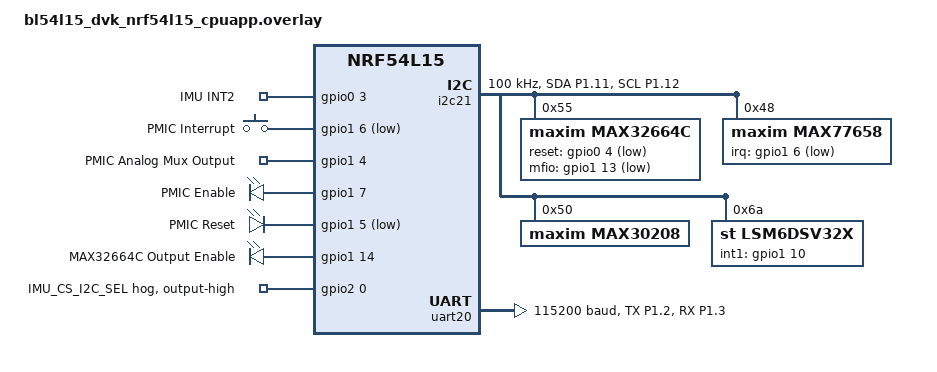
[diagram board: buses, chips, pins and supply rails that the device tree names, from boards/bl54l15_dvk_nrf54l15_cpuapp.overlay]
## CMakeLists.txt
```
# SPDX-License-Identifier: Apache-2.0

cmake_minimum_required(VERSION 3.20.0)

find_package(Zephyr REQUIRED HINTS $ENV{ZEPHYR_BASE})
project(bm_eso_v1_0)

# Application sources
target_sources(app PRIVATE 
    src/main.c
    src/pmic_gpio.c
    src/data_manager.c
    src/storage_manager.c
    src/ble_app.c
    lib/max77658_main.c
    lib/max32664c_main.c
    lib/max30208_main.c
    lib/lsm6dsv32x_main.c
    lib/comman/app_i2c_lock.c
    driver/pmic/max77658.c
    driver/pmic/bsp.c
    # MAX30208 temperature sensor driver
    driver/max30208/max30208.c
    # MAX32664C driver sources
    driver/max32664c/max32664c.c
    driver/max32664c/max32664c_acc.c
    driver/max32664c/max32664c_bl.c
    driver/max32664c/max32664c_init.c
    driver/max32664c/max32664c_worker.c
)

# Conditionally add MAX32664C interrupt support
if(CONFIG_MAX32664C_USE_INTERRUPT)
    target_sources(app PRIVATE driver/max32664c/max32664c_interrupt.c)
endif()

# Conditionally add PMIC module sources
if(CONFIG_PMIC_MAX77658_PM)
    target_sources(app PRIVATE driver/pmic/max77658_pm.c)
endif()

if(CONFIG_PMIC_MAX77658_FG)
    target_sources(app PRIVATE driver/pmic/max77658_fg.c)
endif()

# Include directories
target_include_directories(app PRIVATE
    ${CMAKE_CURRENT_SOURCE_DIR}/driver/pmic
    ${CMAKE_CURRENT_SOURCE_DIR}/driver/max32664c
    ${CMAKE_CURRENT_SOURCE_DIR}/src
    ${CMAKE_CURRENT_SOURCE_DIR}/lib
    ${CMAKE_CURRENT_SOURCE_DIR}/lib/comman
)
```

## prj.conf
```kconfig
# =============================================================================
# Zephyr Project Configuration for MAX77658 PMIC Driver
# Target: nRF5340 / nRF52840
# =============================================================================

# -----------------------------------------------------------------------------
# Clock Configuration
# -----------------------------------------------------------------------------
# Use internal 32.768 kHz RC oscillator (LFRC) instead of external crystal (LFXO)
# This frees P0.00 (XL1) and P0.01 (XL2) for GPIO use
CONFIG_CLOCK_CONTROL_NRF_K32SRC_RC=y
CONFIG_CLOCK_CONTROL_NRF_K32SRC_RC_CALIBRATION=y

# -----------------------------------------------------------------------------
# C++ Support (if needed for driver library)
# -----------------------------------------------------------------------------
CONFIG_CPP=y
CONFIG_STD_CPP17=y
CONFIG_REQUIRES_FULL_LIBCPP=y
CONFIG_NEWLIB_LIBC=y

# -----------------------------------------------------------------------------
# I2C Configuration
# -----------------------------------------------------------------------------
CONFIG_I2C=y

# -----------------------------------------------------------------------------
# SPI Configuration (for other peripherals like MAX30001G ECG/BioZ AFE)
# -----------------------------------------------------------------------------
CONFIG_SPI=y

# -----------------------------------------------------------------------------
# GPIO Configuration
# -----------------------------------------------------------------------------
CONFIG_GPIO=y

# -----------------------------------------------------------------------------
# Serial / UART Console Configuration
# -----------------------------------------------------------------------------
CONFIG_SERIAL=y
CONFIG_CONSOLE=y
CONFIG_UART_CONSOLE=y

# -----------------------------------------------------------------------------
# Logging Configuration
# -----------------------------------------------------------------------------
CONFIG_LOG=y
CONFIG_LOG_MODE_DEFERRED=y
CONFIG_LOG_PROCESS_THREAD=y
CONFIG_LOG_PROCESS_THREAD_STACK_SIZE=4096
CONFIG_LOG_BUFFER_SIZE=16384

# Enable Debug Logging for I2C Subsystem
CONFIG_I2C_LOG_LEVEL_DBG=y

CONFIG_CLOCK_CONTROL_LOG_LEVEL_WRN=y

# 2. Keep Sensor logs enabled so you can see the data
CONFIG_SENSOR_LOG_LEVEL_DBG=y

# 3. Reduce Kernel noise
CONFIG_LOG_DEFAULT_LEVEL=3
CONFIG_KERNEL_LOG_LEVEL_WRN=y

# -----------------------------------------------------------------------------
# Sensor Configuration
# -----------------------------------------------------------------------------
CONFIG_SENSOR=y

# LSM6DSV32X IMU Configuration (use LSM6DSV16X driver family)
CONFIG_LSM6DSV16X=y

CONFIG_LOG_BACKEND_UART=y
CONFIG_PRINTK=y

# Enable floating point support for printf/LOG_INF
CONFIG_CBPRINTF_FP_SUPPORT=y

# -----------------------------------------------------------------------------
# PMIC MAX77658 Configuration
# -----------------------------------------------------------------------------
CONFIG_PMIC_MAX77658=y
CONFIG_PMIC_MAX77658_LOG_LEVEL=3
CONFIG_PMIC_MAX77658_PM=y
CONFIG_PMIC_MAX77658_FG=y

# Fuel Gauge Battery Configuration
CONFIG_PMIC_MAX77658_FG_DESIGN_CAP=350
CONFIG_PMIC_MAX77658_FG_RSENSE=10

# -----------------------------------------------------------------------------
# Memory Configuration
# -----------------------------------------------------------------------------
# Heap for dynamic allocation
CONFIG_HEAP_MEM_POOL_SIZE=16384

# Main stack size (increase if needed)
CONFIG_MAIN_STACK_SIZE=4096

# -----------------------------------------------------------------------------
# Debug Configuration (optional - disable for production)
# -----------------------------------------------------------------------------
# CONFIG_DEBUG=y
# CONFIG_DEBUG_OPTIMIZATIONS=y
# CONFIG_DEBUG_THREAD_INFO=y

CONFIG_MAX32664C_USE_EXTENDED_REPORTS=y

# ========================================
# Bluetooth Configuration (nRF54L15 Fixed)
# ========================================
CONFIG_BT=y
CONFIG_BT_PERIPHERAL=y
CONFIG_BT_DEVICE_NAME="Neso Monitor"
CONFIG_BT_MAX_CONN=1

# Use the Nordic SoftDevice Controller
CONFIG_BT_LL_SOFTDEVICE=y

# TX Power control (SoftDevice VS HCI)
CONFIG_BT_HCI=y
CONFIG_BT_CTLR_TX_PWR_DYNAMIC_CONTROL=y

# BLE Host buffers (prevents -ENOMEM on bt_gatt_notify)
CONFIG_BT_BUF_ACL_RX_SIZE=251
CONFIG_BT_BUF_ACL_TX_SIZE=251
CONFIG_BT_BUF_ACL_RX_COUNT=8
CONFIG_BT_BUF_ACL_TX_COUNT=8

# How many outstanding TX can be queued per connection
CONFIG_BT_CONN_TX_MAX=12

# L2CAP TX buffers (host side)
CONFIG_BT_L2CAP_TX_MTU=247
CONFIG_BT_L2CAP_TX_BUF_COUNT=8

# Data Length Update (DLE) support is usually auto-enabled by SoftDevice
CONFIG_BT_DATA_LEN_UPDATE=y

# Disable features not needed right now to reduce complexity
CONFIG_BT_GATT_CLIENT=n
CONFIG_BT_SMP=n
CONFIG_BT_PRIVACY=n
CONFIG_BT_SIGNING=n

# -----------------------------------------------------------------------------
# Non-Volatile Storage (NVS) Configuration
# -----------------------------------------------------------------------------
# Enable Flash and NVS for persistent data storage
CONFIG_FLASH=y
CONFIG_FLASH_PAGE_LAYOUT=y
CONFIG_NVS=y

# Settings subsystem for key-value storage
CONFIG_SETTINGS=y

# Allow writing to flash while running
CONFIG_MPU_ALLOW_FLASH_WRITE=y
```

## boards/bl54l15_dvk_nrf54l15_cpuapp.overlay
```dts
/*
 * BL54L15 DVK overlay for MAX77658 PMIC and MAX32664C Sensor Hub
 *
 * Hardware Wiring:
 *   SDA: P1.11
 *   SCL: P1.12
 *
 * MAX32664C Sensor Hub Pins:
 *   HUB_MFIO: P1.13
 *   HUB_RST:  P0.04
 *   OE:       P1.14
 *
 * PMIC GPIO Pins:
 *   PMIC_NEN:  P1.07
 *   PMIC_nIRQ: P1.06
 *   PMIC_nRST: P1.05
 *
 * UART Pins (NFC pins released as GPIO):
 *   TX: P1.02
 *   RX: P1.03
 */
&pinctrl {
    /* I2C21 pins */
    i2c21_default: i2c21_default {
        group1 {
            /* YOUR CUSTOM WIRING */
            psels = <NRF_PSEL(TWIM_SDA, 1, 11)>,  /* SDA = P1.11 */
                    <NRF_PSEL(TWIM_SCL, 1, 12)>;  /* SCL = P1.12 */
            bias-pull-up;
        };
    };

    i2c21_sleep: i2c21_sleep {
        group1 {
            psels = <NRF_PSEL(TWIM_SDA, 1, 11)>,
                    <NRF_PSEL(TWIM_SCL, 1, 12)>;
            low-power-enable;
        };
    };

    /* UART configured on P1.02/P1.03 (NFC pins released as GPIO) */
    uart20_default: uart20_default {
        group1 {
            psels = <NRF_PSEL(UART_TX, 1, 2)>,  /* P1.02 = TX */
                    <NRF_PSEL(UART_RX, 1, 3)>;  /* P1.03 = RX */
        };
    };

    uart20_sleep: uart20_sleep {
        group1 {
            psels = <NRF_PSEL(UART_TX, 1, 2)>,  /* P1.02 = TX */
                    <NRF_PSEL(UART_RX, 1, 3)>;  /* P1.03 = RX */
            low-power-enable;
        };
    };
};

/* Configure I2C21 with custom pins (nRF54L15 uses i2c21) */
&i2c21 {
    status = "okay";
    pinctrl-0 = <&i2c21_default>;
    pinctrl-1 = <&i2c21_sleep>;
    pinctrl-names = "default", "sleep";
    clock-frequency = <I2C_BITRATE_STANDARD>;  /* 100kHz, can use I2C_BITRATE_FAST for 400kHz */

    /* MAX32664C Biometric Sensor Hub */
    max32664c: max32664c@55 {
        compatible = "maxim,max32664c";
        reg = <0x55>;
        
        /* GPIO Control */
        reset-gpios = <&gpio0 4 GPIO_ACTIVE_LOW>;
        mfio-gpios  = <&gpio1 13 (GPIO_ACTIVE_LOW | GPIO_OPEN_DRAIN | GPIO_PULL_UP)>;
        
        /* PATCH: Use Standard Maxim Coefficients (Scaled x100,000) */
        /* A = 1.5958422   -> 159584 */
        /* B = -34.6596622 -> -3465966 */
        /* C = 112.6898759 -> 11268987 */
        spo2-calib = <159584 (-3465966) 11268987>;
        hr-config = <4 1>;
        spo2-config = <4 1>;
        use-max86174;
        motion-time = <5000>;
        motion-threshold = <100>;
        min-integration-time = "58_7us";
        min-sampling-rate = "25sps_avg1";
        max-integration-time = "117_3us";
        max-sampling-rate = "400sps_avg16";
        report-period = <40>;
        led-current = <50 50 50 50>;
    };

    /* MAX77658 PMIC Node (Required for driver communication) */
    max77658: max77658@48 {
        compatible = "maxim,max77658"; 
        reg = <0x48>; 
        irq-gpios = <&gpio1 6 (GPIO_PULL_UP | GPIO_ACTIVE_LOW)>;
    };

    /* MAX30208 Digital Temperature Sensor 
     * Address pins P1.08/P1.09 forced LOW in firmware via SYS_INIT
     * to ensure device responds at 0x50
     */
    max30208: max30208@50 {
        compatible = "maxim,max30208";
        reg = <0x50>;
        status = "okay";
    };

    /* LSM6DSO32X 6-axis IMU (3D accelerometer + 3D gyroscope)
     * INT1: P1.10 (data ready interrupt - active-high)
     */
    lsm6dsv32x: imu@6a {
        compatible = "st,lsm6dsv32x";
        reg = <0x6a>;
        status = "okay";

        /* Optional interrupts */
        int1-gpios = <&gpio1 10 GPIO_ACTIVE_HIGH>;
        /* int2-gpios = <&gpio0 3 GPIO_ACTIVE_HIGH>; */
    };
};

/* Force IMU into I2C mode: CS must be HIGH (your CS/I2C-select is P2.00) */
&gpio2 {
    imu_cs_i2c_sel: imu_cs_i2c_sel {
        gpio-hog;
        gpios = <0 GPIO_ACTIVE_HIGH>; /* P2.00 */
        output-high;
        line-name = "IMU_CS_I2C_SEL";
    };
};

/* Configure UART20 for debug console (115200 baud) */
&uart20 {
    status = "okay";
    current-speed = <115200>;
    pinctrl-0 = <&uart20_default>;
    pinctrl-1 = <&uart20_sleep>;
    pinctrl-names = "default", "sleep";
};

&nfct {
    status = "disabled";
};

/* Disable NFC to release P1.02 and P1.03 as GPIO pins */
&uicr {
    nfct-pins-as-gpios;
};

/* GPIO definitions for Manual Control / Aliases */
/ {
    chosen {
        zephyr,code-partition = &slot0_partition;
    };

    /* PMIC GPIO definitions */
    pmic_gpios {
        compatible = "gpio-keys";
        
        /* Optional: expose IMU INT2 as a GPIO input for your app logic
         * INT2: P0.03 (not used by Zephyr lsm6dso driver directly)
         */
        imu_int2: imu_int2 {
            gpios = <&gpio0 3 GPIO_ACTIVE_HIGH>;
            label = "IMU INT2";
        };
        
        pmic_nirq: pmic_nirq {
            gpios = <&gpio1 6 (GPIO_PULL_UP | GPIO_ACTIVE_LOW)>;
            label = "PMIC Interrupt";
        };
        
        pmic_amux: pmic_amux {
            gpios = <&gpio1 4 GPIO_ACTIVE_HIGH>;
            label = "PMIC Analog Mux Output";
        };
    };
    
    pmic_ctrl {
        compatible = "gpio-leds";
        
        pmic_nen: pmic_nen {
            gpios = <&gpio1 7 GPIO_ACTIVE_HIGH>;
            label = "PMIC Enable";
        };
        
        pmic_nrst: pmic_nrst {
            gpios = <&gpio1 5 GPIO_ACTIVE_LOW>;
            label = "PMIC Reset";
        };
        
        hub_oe: hub_oe {
            gpios = <&gpio1 14 GPIO_ACTIVE_HIGH>;
            label = "MAX32664C Output Enable";
        };
    };
    
    aliases {
        /* PMIC aliases */
        pmic-nen = &pmic_nen;
        pmic-irq = &pmic_nirq;
        pmic-rst = &pmic_nrst;
        pmic-amux = &pmic_amux;
        
        /* MAX32664C aliases */
        hub-oe = &hub_oe;
        
        /* IMU aliases */
        imu0 = &lsm6dsv32x;
        lsm6dso32x = &lsm6dsv32x;  /* Keep old alias for compatibility */
        imu-int2 = &imu_int2;
    };
};

/* Flash Partitions for Data Storage (nRF54L15 RRAM) */
&cpuapp_rram {
    /* CRITICAL: Delete the default board partitions to avoid conflicts */
    /delete-node/ partitions;

    partitions {
        compatible = "fixed-partitions";
        #address-cells = <1>;
        #size-cells = <1>;

        /* Bootloader partition (64KB) */
        boot_partition: partition@0 {
            label = "mcuboot";
            reg = <0x00000000 0x00010000>;
        };

        /* Application slot 0 (448KB) */
        slot0_partition: partition@10000 {
            label = "image-0";
            reg = <0x00010000 0x00070000>;
        };

        /* Application slot 1 (448KB) */
        slot1_partition: partition@80000 {
            label = "image-1";
            reg = <0x00080000 0x00070000>;
        };

        /* Storage partition for persistent data (32KB) */
        storage_partition: partition@F0000 {
            label = "storage";
            reg = <0x000F0000 0x00008000>;
        };

        /* Scratch partition for MCUboot swap (32KB) */
        scratch_partition: partition@F8000 {
            label = "image-scratch";
            reg = <0x000F8000 0x00008000>;
        };
    };
};
```

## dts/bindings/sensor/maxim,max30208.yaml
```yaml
description: MAX30208 Digital Temperature Sensor
compatible: "maxim,max30208"
include: i2c-device.yaml

properties:
    addr-gpios:
      type: phandle-array
      description: GPIO pins (GPIO0, GPIO1) used to set the I2C address.
```

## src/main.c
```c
/*
 * main.c - Application Entry Point
 */

#include <zephyr/kernel.h>
#include <zephyr/logging/log.h>
#include <zephyr/device.h>
#include <zephyr/drivers/i2c.h>
#include <zephyr/sys/util.h>
#include <stdlib.h>

/* Application Libraries */
#include "max77658_main.h"
#include "max32664c_main.h"
#include "max30208_main.h"
#include "lsm6dsv32x_main.h"
#include "app_i2c_lock.h"

/* BLE Store-and-Forward Thread */
void start_ble_thread(void);
K_THREAD_DEFINE(ble_thread_id, 4096, start_ble_thread, NULL, NULL, NULL, 7, 0, 0);

LOG_MODULE_REGISTER(main, CONFIG_LOG_DEFAULT_LEVEL);

/* I2C Device */
#define I2C_NODE DT_NODELABEL(i2c21)
static const struct device *i2c_dev = DEVICE_DT_GET(I2C_NODE);

/* I2C Scanner Function */
static void i2c_scan(void)
{
    uint8_t addr;
    uint8_t cnt = 0;

    LOG_INF("--- I2C Bus Scan ---");
    
    if (!device_is_ready(i2c_dev)) {
        LOG_ERR("I2C device not ready!");
        return;
    }

    k_mutex_lock(&i2c_lock, K_FOREVER);

    for (addr = 0x03; addr <= 0x77; addr++) {
        struct i2c_msg msgs[1];
        uint8_t dst;

        msgs[0].buf = &dst;
        msgs[0].len = 0;
        msgs[0].flags = I2C_MSG_WRITE | I2C_MSG_STOP;

        if (i2c_transfer(i2c_dev, &msgs[0], 1, addr) == 0) {
            LOG_INF("Device found at 0x%02X", addr);
            cnt++;
        }
    }

    k_mutex_unlock(&i2c_lock);
    
    LOG_INF("Found %d device(s) on I2C bus", cnt);
}

int main(void)
{
    int ret;
    
    LOG_INF("--- System Startup ---");

    /* 1. Initialize PMIC Hardware (Protected) */
    LOG_INF("Initializing PMIC...");
    k_mutex_lock(&i2c_lock, K_FOREVER);
    ret = max77658_app_init();
    k_mutex_unlock(&i2c_lock);
    
    if (ret != 0) {
        LOG_ERR("MAX77658 Init Failed! Halting.");
        while (1) { k_msleep(1000); }
    }

    /* 2. Initialize MAX30208 Temperature Sensor */
    LOG_INF("Initializing MAX30208...");
    k_mutex_lock(&i2c_lock, K_FOREVER);
    ret = max30208_app_init();
    k_mutex_unlock(&i2c_lock);
    
    if (ret != 0) {
        LOG_WRN("MAX30208 Init Failed (ret=%d) - sensor disabled", ret);
    }

    /* 3. Start Application Threads */
    /* The internal driver init for max32664c is handled by the sensor thread */
    LOG_INF("Starting Application Threads...");
    max77658_app_start();    /* Starts PMIC thread (Priority 7, 2000ms polling) */
    max32664c_app_start();   /* Starts Sensor thread (Priority 5, 40ms polling) */
    lsm6dsv32x_start();      /* Starts IMU thread (Priority 6, 40ms polling) */

    /* 4. Main thread runs I2C scanner and temperature monitoring */
    LOG_INF("Main thread starting I2C scanner loop.");
    while (1) {
        k_sleep(K_SECONDS(5));

        if (max77658_shutdown_requested()) {
            LOG_WRN("Shutdown requested; skipping diagnostics.");
            continue;
        }

        /* Read MAX30208 temperature */
        if (max30208_app_dev() != NULL) {
            int32_t t_x100 = 0;
            int16_t raw = 0;
            
            k_mutex_lock(&i2c_lock, K_FOREVER);
            ret = max30208_app_read_c_x100(&t_x100, &raw);
            k_mutex_unlock(&i2c_lock);
            
            if (ret == 0) {
                LOG_INF("MAX30208: raw=%d  temp=%d.%02d C",
                        raw, (int)(t_x100/100), (int)abs(t_x100%100));
            } else {
                LOG_ERR("MAX30208 read failed: %d", ret);
            }
        }

        /* I2C bus scan (debug only - disable in production) */
#if defined(NESO_I2C_SCAN_DEBUG)
        i2c_scan();
#endif
    }

    return 0;
}
```

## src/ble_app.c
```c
#include <zephyr/types.h>
#include <stddef.h>
#include <string.h>
#include <errno.h>
#include <zephyr/sys/printk.h>
#include <zephyr/sys/byteorder.h>
#include <zephyr/sys/atomic.h>
#include <zephyr/sys/util.h>
#include <zephyr/net_buf.h>
#include <zephyr/kernel.h>
#include <zephyr/logging/log.h>

#include <zephyr/bluetooth/bluetooth.h>
#include <zephyr/bluetooth/conn.h>
#include <zephyr/bluetooth/uuid.h>
#include <zephyr/bluetooth/gatt.h>
#include <zephyr/bluetooth/hci.h>
#include <zephyr/bluetooth/hci_vs.h>

#include "data_manager.h"
#include "storage_manager.h"
#include "max77658_main.h"
#include "ble_app.h"

LOG_MODULE_REGISTER(ble_app, LOG_LEVEL_INF);

/* ---------------- UUID Definitions ---------------- */
#define UUID_BASE_VAL(x) BT_UUID_128_ENCODE(0x12345678, 0x1234, 0x5678, 0x1234, (x))

static struct bt_uuid_128 hope_svc_uuid     = BT_UUID_INIT_128(UUID_BASE_VAL(0x56789abcdef0));
static struct bt_uuid_128 char_vitals_uuid  = BT_UUID_INIT_128(UUID_BASE_VAL(0x56789abcdef1));
static struct bt_uuid_128 char_imu_uuid     = BT_UUID_INIT_128(UUID_BASE_VAL(0x56789abcdef2));
static struct bt_uuid_128 char_temp_uuid    = BT_UUID_INIT_128(UUID_BASE_VAL(0x56789abcdef3));
static struct bt_uuid_128 char_batt_uuid    = BT_UUID_INIT_128(UUID_BASE_VAL(0x56789abcdef4));
static struct bt_uuid_128 char_profile_uuid = BT_UUID_INIT_128(UUID_BASE_VAL(0x56789abcdef5));
static struct bt_uuid_128 char_config_uuid  = BT_UUID_INIT_128(UUID_BASE_VAL(0x56789abcdef6));
static struct bt_uuid_128 char_info_uuid    = BT_UUID_INIT_128(UUID_BASE_VAL(0x56789abcdef7));

/* ---------------- Transmission Structs (Packed) ---------------- */
typedef struct __attribute__((packed)) {
    uint32_t ts_ms;
    uint16_t hr;
    uint16_t spo2;      /* spo2_x10 */
    uint8_t  hr_conf;
    uint8_t  spo2_conf;
    uint8_t  scd;
    uint8_t  algo_mode;
} ble_vitals_t;

typedef struct __attribute__((packed)) {
    uint32_t ts_ms;
    uint16_t kicks;
    uint8_t  orient;
    uint8_t  activity;
    uint8_t  sleep;
    uint32_t events;
} ble_imu_t;

typedef struct __attribute__((packed)) {
    uint32_t ts_ms;
    int16_t  temp_c100;
} ble_temp_t;

typedef struct __attribute__((packed)) {
    uint32_t ts_ms;
    uint16_t mv;
    int16_t  ma;      /* batt_ma_x10 */
    uint8_t  soc;     /* batt_pct */
    uint8_t  chg;     /* chg_present */
} ble_batt_t;

/* Config/Profile Structs */
typedef struct __attribute__((packed)) { uint8_t age; uint8_t height_cm; uint16_t weight_dg; uint8_t gender; } user_profile_t;
typedef struct __attribute__((packed)) { uint8_t op_mode; uint16_t interval_s; uint8_t led_current; } device_config_t;

static user_profile_t current_profile = {0};
static device_config_t current_config = {0, 0, 50};

/* Notification Flags */
#define NOTIFY_VITALS  (1u<<0)
#define NOTIFY_IMU     (1u<<1)
#define NOTIFY_TEMP    (1u<<2)
#define NOTIFY_BATT    (1u<<3)

static atomic_t g_notify_mask  = ATOMIC_INIT(0);
static atomic_t g_ble_stop     = ATOMIC_INIT(0);
static atomic_t g_force_flush  = ATOMIC_INIT(0);

K_SEM_DEFINE(bt_ready_sem, 0, 1);

/* Track active connection */
static struct bt_conn *g_conn;

/* ---------------- Connection callbacks ---------------- */
static void conn_set(struct bt_conn *conn)
{
    if (g_conn) {
        bt_conn_unref(g_conn);
        g_conn = NULL;
    }
    if (conn) {
        g_conn = bt_conn_ref(conn);
    }
}

static bool ble_ready_to_tx(void)
{
    return (g_conn != NULL) &&
           (atomic_get(&g_ble_stop) == 0) &&
           (atomic_get(&g_notify_mask) != 0);
}

static void set_tx_power_max(struct bt_conn *conn)
{
    struct net_buf *buf;
    struct bt_hci_cp_vs_write_tx_power_level *cp;
    uint16_t handle;
    int err;

    err = bt_hci_get_conn_handle(conn, &handle);
    if (err) {
        LOG_WRN("Failed to get conn handle: %d", err);
        return;
    }

    buf = bt_hci_cmd_create(BT_HCI_OP_VS_WRITE_TX_POWER_LEVEL, sizeof(*cp));
    if (!buf) {
        LOG_WRN("Failed to allocate HCI cmd buffer");
        return;
    }

    cp = net_buf_add(buf, sizeof(*cp));
    cp->handle = sys_cpu_to_le16(handle);
    cp->handle_type = BT_HCI_VS_LL_HANDLE_TYPE_CONN;
    cp->tx_power_level = 8; /* +8 dBm */

    err = bt_hci_cmd_send_sync(BT_HCI_OP_VS_WRITE_TX_POWER_LEVEL, buf, NULL);
    if (err) {
        LOG_WRN("TX power set failed: %d", err);
    } else {
        LOG_INF("TX power requested: +8 dBm (handle %u)", handle);
    }
}

static void connected(struct bt_conn *conn, uint8_t conn_err)
{
    if (conn_err) {
        LOG_WRN("BLE connect failed (err %u)", conn_err);
        return;
    }
    conn_set(conn);
    LOG_INF("BLE connected. RSSI: Checking...");

    /* 1. Force Max Power immediately */
    set_tx_power_max(conn);

    /* 2. Request 2M PHY (Better battery efficiency, good range) */
    /* Commented out - bt_conn_le_phy_update not available in this build */
    /*
    const struct bt_conn_le_phy_param phy_param = {
        .options = BT_CONN_LE_PHY_OPT_NONE,
        .pref_tx_phy = BT_GAP_LE_PHY_2M,
        .pref_rx_phy = BT_GAP_LE_PHY_2M,
    };
    bt_conn_le_phy_update(conn, &phy_param);
    */

    /* 3. Update Connection Params (50ms interval) */
    struct bt_le_conn_param conn_param = {
        .interval_min = 40,   /* 50ms */
        .interval_max = 60,   /* 75ms */
        .latency      = 0,
        .timeout      = 400   /* 4s timeout prevents random drops */
    };
    int rc = bt_conn_le_param_update(conn, &conn_param);
    if (rc) {
        LOG_WRN("Conn param update failed: %d", rc);
    }
}

static void disconnected(struct bt_conn *conn, uint8_t reason)
{
    ARG_UNUSED(conn);
    LOG_WRN("BLE disconnected (reason 0x%02x)", reason);

    /* CCC will likely be reset by client; ensure we stop TX immediately */
    atomic_set(&g_notify_mask, 0);
    atomic_set(&g_force_flush, 0);
    conn_set(NULL);
}

static struct bt_conn_cb conn_callbacks = {
    .connected = connected,
    .disconnected = disconnected,
};

/* ---------------- CCC Callbacks ---------------- */
void ble_prepare_for_shutdown(void)
{
    atomic_set(&g_ble_stop, 1);
    atomic_set(&g_notify_mask, 0);
    atomic_set(&g_force_flush, 0);

    (void)bt_le_adv_stop();
    conn_set(NULL);

    LOG_WRN("BLE: prepare_for_shutdown");
}

static void update_notify_mask(uint16_t value, uint32_t bit)
{
    if (value == BT_GATT_CCC_NOTIFY) {
        atomic_or(&g_notify_mask, (atomic_val_t)bit);
        atomic_set(&g_force_flush, 1);
    } else {
        atomic_and(&g_notify_mask, (atomic_val_t)~bit);
    }

    LOG_INF("Notify mask now: 0x%02x", (unsigned)atomic_get(&g_notify_mask));
}

static void ccc_vitals_changed(const struct bt_gatt_attr *attr, uint16_t value) { ARG_UNUSED(attr); update_notify_mask(value, NOTIFY_VITALS); }
static void ccc_imu_changed(const struct bt_gatt_attr *attr, uint16_t value)    { ARG_UNUSED(attr); update_notify_mask(value, NOTIFY_IMU); }
static void ccc_temp_changed(const struct bt_gatt_attr *attr, uint16_t value)   { ARG_UNUSED(attr); update_notify_mask(value, NOTIFY_TEMP); }
static void ccc_batt_changed(const struct bt_gatt_attr *attr, uint16_t value)   { ARG_UNUSED(attr); update_notify_mask(value, NOTIFY_BATT); }

/* Read/Write Handlers */
static ssize_t read_profile(struct bt_conn *conn, const struct bt_gatt_attr *attr,
                            void *buf, uint16_t len, uint16_t offset)
{
    return bt_gatt_attr_read(conn, attr, buf, len, offset, &current_profile, sizeof(current_profile));
}

static ssize_t write_profile(struct bt_conn *conn, const struct bt_gatt_attr *attr,
                             const void *buf, uint16_t len, uint16_t offset, uint8_t flags)
{
    ARG_UNUSED(conn); ARG_UNUSED(attr); ARG_UNUSED(offset); ARG_UNUSED(flags);
    if (len != sizeof(user_profile_t)) return BT_GATT_ERR(BT_ATT_ERR_INVALID_ATTRIBUTE_LEN);
    memcpy(&current_profile, buf, len);
    return len;
}

static ssize_t read_config(struct bt_conn *conn, const struct bt_gatt_attr *attr,
                           void *buf, uint16_t len, uint16_t offset)
{
    return bt_gatt_attr_read(conn, attr, buf, len, offset, &current_config, sizeof(current_config));
}

static ssize_t write_config(struct bt_conn *conn, const struct bt_gatt_attr *attr,
                            const void *buf, uint16_t len, uint16_t offset, uint8_t flags)
{
    ARG_UNUSED(conn); ARG_UNUSED(attr); ARG_UNUSED(offset); ARG_UNUSED(flags);
    if (len != sizeof(device_config_t)) return BT_GATT_ERR(BT_ATT_ERR_INVALID_ATTRIBUTE_LEN);
    memcpy(&current_config, buf, len);
    return len;
}

/* ---------------- GATT Service ---------------- */
BT_GATT_SERVICE_DEFINE(hope_svc,
    BT_GATT_PRIMARY_SERVICE(&hope_svc_uuid),

    /* 1. Vitals (Attr: 2) */
    BT_GATT_CHARACTERISTIC(&char_vitals_uuid.uuid, BT_GATT_CHRC_NOTIFY, BT_GATT_PERM_NONE, NULL, NULL, NULL),
    BT_GATT_CCC(ccc_vitals_changed, BT_GATT_PERM_READ | BT_GATT_PERM_WRITE),

    /* 2. IMU (Attr: 5) */
    BT_GATT_CHARACTERISTIC(&char_imu_uuid.uuid, BT_GATT_CHRC_NOTIFY, BT_GATT_PERM_NONE, NULL, NULL, NULL),
    BT_GATT_CCC(ccc_imu_changed, BT_GATT_PERM_READ | BT_GATT_PERM_WRITE),

    /* 3. Temp (Attr: 8) */
    BT_GATT_CHARACTERISTIC(&char_temp_uuid.uuid, BT_GATT_CHRC_NOTIFY, BT_GATT_PERM_NONE, NULL, NULL, NULL),
    BT_GATT_CCC(ccc_temp_changed, BT_GATT_PERM_READ | BT_GATT_PERM_WRITE),

    /* 4. Batt (Attr: 11) */
    BT_GATT_CHARACTERISTIC(&char_batt_uuid.uuid, BT_GATT_CHRC_NOTIFY, BT_GATT_PERM_NONE, NULL, NULL, NULL),
    BT_GATT_CCC(ccc_batt_changed, BT_GATT_PERM_READ | BT_GATT_PERM_WRITE),

    /* 5. Profile (RW) */
    BT_GATT_CHARACTERISTIC(&char_profile_uuid.uuid, BT_GATT_CHRC_READ | BT_GATT_CHRC_WRITE,
                           BT_GATT_PERM_READ | BT_GATT_PERM_WRITE, read_profile, write_profile, NULL),

    /* 6. Config (RW) */
    BT_GATT_CHARACTERISTIC(&char_config_uuid.uuid, BT_GATT_CHRC_READ | BT_GATT_CHRC_WRITE,
                           BT_GATT_PERM_READ | BT_GATT_PERM_WRITE, read_config, write_config, NULL),

    /* 7. Info (RO) */
    BT_GATT_CHARACTERISTIC(&char_info_uuid.uuid, BT_GATT_CHRC_READ, BT_GATT_PERM_READ, NULL, NULL, NULL)
);

static const struct bt_data ad[] = {
    BT_DATA_BYTES(BT_DATA_FLAGS, (BT_LE_AD_GENERAL | BT_LE_AD_NO_BREDR)),
    BT_DATA(BT_DATA_NAME_COMPLETE, "Neso Monitor", (sizeof("Neso Monitor") - 1)),
};

static const struct bt_data sd[] = {
    BT_DATA_BYTES(BT_DATA_UUID128_ALL,
        0xf0, 0xde, 0xbc, 0x9a, 0x78, 0x56, 0x34, 0x12,
        0x78, 0x56, 0x34, 0x12, 0x78, 0x56, 0x34, 0x12),
};

static void bt_ready(int err)
{
    if (err) {
        LOG_ERR("BLE init failed (err %d)", err);
        return;
    }

    bt_conn_cb_register(&conn_callbacks);

    err = bt_le_adv_start(BT_LE_ADV_CONN, ad, ARRAY_SIZE(ad), sd, ARRAY_SIZE(sd));
    if (err) {
        LOG_ERR("Advertising failed (err %d)", err);
        return;
    }

    LOG_INF("Advertising started");
    k_sem_give(&bt_ready_sem);
}

/* ---------------- Logic: Send ---------------- */

#define BURST_INTERVAL_MS 10000
#define SAMPLE_PACING_MS  12   /* between samples */
#define FIELD_PACING_MS   2    /* between fields (vitals/imu/temp/batt) */
#define MAX_BATCHES_PER_FLUSH 10  /* Limit catch-up to avoid hogging radio */

/* Retry on -ENOMEM (controller buffers full) */
static int send_safe(const struct bt_gatt_attr *attr, const void *data, uint16_t len)
{
    for (int tries = 0; tries < 25; tries++) {
        if (!ble_ready_to_tx()) return -EACCES;

        /* Use g_conn explicitly to avoid race conditions with NULL */
        int err = bt_gatt_notify(g_conn, attr, data, len);
        if (err == 0) return 0;

        if (err == -ENOMEM) {
            k_sleep(K_MSEC(10));
            continue;
        }

        /* -ENOTCONN etc */
        return err;
    }

    return -ETIMEDOUT;
}

static int ble_process_batch(const patient_batch_t *b)
{
    uint32_t mask = atomic_get(&g_notify_mask);

    /* 1) Vitals: send all samples (high-rate channel) */
    if (mask & NOTIFY_VITALS) {
        for (int i = 0; i < b->count; i++) {
            if (!ble_ready_to_tx()) return -EACCES;

            const patient_sample_t *s = &b->samples[i];

            ble_vitals_t v = {
                .ts_ms = s->ts_ms,
                .hr = s->hr_bpm,
                .spo2 = s->spo2_x10,
                .hr_conf = s->hr_conf,
                .spo2_conf = s->spo2_conf,
                .scd = s->scd,
                .algo_mode = b->algo_mode
            };

            int err = send_safe(&hope_svc.attrs[2], &v, sizeof(v));
            if (err) return err;

            k_sleep(K_MSEC(10)); /* pacing between vitals samples */
        }
    }

    /* Latest sample for slow channels */
    const patient_sample_t *last = &b->samples[b->count - 1];

    /* 2) IMU: once per batch */
    if (mask & NOTIFY_IMU) {
        ble_imu_t im = {
            .ts_ms = last->ts_ms,
            .kicks = last->kick_count,
            .orient = (uint8_t)last->orientation,
            .activity = last->activity_level,
            .sleep = last->asleep_like,
            .events = last->imu_events
        };
        int err = send_safe(&hope_svc.attrs[5], &im, sizeof(im));
        if (err) return err;
        k_sleep(K_MSEC(5));
    }

    /* 3) TEMP: once per batch */
    if (mask & NOTIFY_TEMP) {
        ble_temp_t t = { .ts_ms = last->ts_ms, .temp_c100 = last->temp_c_x100 };
        int err = send_safe(&hope_svc.attrs[8], &t, sizeof(t));
        if (err) return err;
        k_sleep(K_MSEC(5));
    }

    /* 4) BATT: once per batch */
    if (mask & NOTIFY_BATT) {
        ble_batt_t bat = {
            .ts_ms = last->ts_ms,
            .mv = last->batt_mv,
            .ma = last->batt_ma_x10,
            .soc = last->batt_pct,
            .chg = last->chg_present
        };
        int err = send_safe(&hope_svc.attrs[11], &bat, sizeof(bat));
        if (err) return err;
    }

    return 0;
}

static void ble_flush_loop(void)
{
    static patient_batch_t b; /* avoid stack pressure */
    int sent = 0;

    if (!ble_ready_to_tx()) return;

    LOG_INF("BLE flush start: pending=%u", (unsigned)storage_pending_count());

    while (ble_ready_to_tx() && storage_has_data() && sent < MAX_BATCHES_PER_FLUSH) {
        if (storage_peek_next_batch(&b) != 0) {
            break;
        }

        int err = ble_process_batch(&b);
        if (err == 0) {
            (void)storage_drop_next_batch(); /* delete only on success */
            sent++;

            /* give time for supervision/control traffic */
            k_sleep(K_MSEC(30));
        } else {
            LOG_WRN("BLE send failed (%d). Stop flush (keep data).", err);
            break;
        }

        k_yield();
    }

    if (sent > 0) {
        LOG_INF("BLE flush done: sent=%d remaining=%u", sent, (unsigned)storage_pending_count());
    }
}

/* ---------------- Ingest Thread ---------------- */
#define INGEST_STACK 4096
K_THREAD_STACK_DEFINE(ingest_stack, INGEST_STACK);
static struct k_thread ingest_thread;

static void ingest_fn(void *a, void *b, void *c)
{
    ARG_UNUSED(a); ARG_UNUSED(b); ARG_UNUSED(c);

    static patient_batch_t in;

    while (1) {
        if (data_manager_get_ble_batch(&in) == 0) {

            /* If link ready, try LIVE TX first */
            if (ble_ready_to_tx()) {
                int err = ble_process_batch(&in);
                if (err == 0) {
                    continue; /* live sent, don't store */
                }
                /* If TX failed, fall back to storage */
                LOG_WRN("Live TX failed (%d), storing", err);
            }

            /* Not connected / not subscribed / TX failed -> store */
            (void)storage_save_batch(&in);
        }
    }
}

void start_ble_thread(void)
{
    if (storage_init() != 0) {
        LOG_ERR("Storage init failed. BLE buffering will not work.");
    }

    int err = bt_enable(bt_ready);
    if (err) {
        LOG_ERR("bt_enable failed: %d", err);
        return;
    }
    k_sem_take(&bt_ready_sem, K_FOREVER);

    k_thread_create(&ingest_thread, ingest_stack, K_THREAD_STACK_SIZEOF(ingest_stack),
                    ingest_fn, NULL, NULL, NULL,
                    6, 0, K_NO_WAIT);
    k_thread_name_set(&ingest_thread, "ble_ingest");

    int64_t last_burst = k_uptime_get();

    while (1) {
        if (max77658_shutdown_requested() || atomic_get(&g_ble_stop)) {
            k_sleep(K_SECONDS(1));
            continue;
        }

        if (ble_ready_to_tx()) {
            bool force = atomic_cas(&g_force_flush, 1, 0);
            int64_t now = k_uptime_get();

            if (force || ((now - last_burst) >= BURST_INTERVAL_MS)) {
                ble_flush_loop();
                last_burst = k_uptime_get();
            }
        }

        k_sleep(K_MSEC(500));
    }
}
```

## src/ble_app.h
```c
#ifndef BLE_APP_H
#define BLE_APP_H

/* Start the BLE application thread(s) */
void start_ble_thread(void);

/* Prepare BLE for shutdown (stop advertising, disable notifications) */
void ble_prepare_for_shutdown(void);

#endif /* BLE_APP_H */
```

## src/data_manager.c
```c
#include "data_manager.h"
#include <zephyr/logging/log.h>
#include <string.h>
#include <limits.h>

LOG_MODULE_REGISTER(data_mgr, LOG_LEVEL_INF);

/* Two separate queues so slow Wi-Fi doesn't block fast BLE */
/* BLE depth increased so ingest thread can absorb bursts while flash/flush happens */
K_MSGQ_DEFINE(batch_q,  sizeof(patient_batch_t), 4, 4);
K_MSGQ_DEFINE(ble_msgq, sizeof(patient_batch_t), 16, 4);

static patient_batch_t current_batch;
static uint32_t g_batch_seq;
static uint8_t  g_target_count = BATCH_SIZE;

static struct k_mutex dm_lock;

/* latest caches written by other threads */
static struct {
    int16_t  temp_c_x100;
    bool     temp_valid;

    uint8_t  batt_pct;
    uint16_t batt_mv;
    int16_t  batt_ma_x10;
    uint8_t  chg_present;
    bool     batt_valid;

    int8_t   orientation;
    uint8_t  activity_level;
    uint16_t kick_count;
    uint8_t  kick_rate_per_min;
    uint8_t  asleep_like;
    uint32_t imu_events;
    uint16_t alerts;
    bool     imu_valid;
} latest;

static void finalize_and_queue_batch(uint8_t flushed_count)
{
    current_batch.ver      = PAYLOAD_VER;
    current_batch.batch_seq = g_batch_seq++;
    current_batch.uptime_ms = k_uptime_get_32();

    /* push to both consumers */
    if (k_msgq_put(&batch_q, &current_batch, K_NO_WAIT) != 0) {
        LOG_WRN("Cloud queue full, dropping batch");
    }
    if (k_msgq_put(&ble_msgq, &current_batch, K_NO_WAIT) != 0) {
        LOG_WRN("BLE queue full, dropping batch");
    }

    LOG_INF("Batch queued: count=%u seq=%u algo=%u",
            flushed_count, (unsigned)current_batch.batch_seq, current_batch.algo_mode);

    /* reset */
    current_batch.count = 0;
}

void data_manager_init(void)
{
    k_mutex_init(&dm_lock);
    memset(&latest, 0, sizeof(latest));

    memset(&current_batch, 0, sizeof(current_batch));
    current_batch.ver = PAYLOAD_VER;
    current_batch.count = 0;

    g_batch_seq = 0;
    g_target_count = BATCH_SIZE;
}

void data_manager_set_batch_target(uint8_t target_count)
{
    if (target_count < 1) target_count = 1;
    if (target_count > BATCH_SIZE) target_count = BATCH_SIZE;
    g_target_count = target_count;
    LOG_INF("Batch target set to %u", g_target_count);
}

void data_manager_update_temp(int16_t temp_c_x100, bool valid)
{
    k_mutex_lock(&dm_lock, K_FOREVER);
    latest.temp_c_x100 = temp_c_x100;
    latest.temp_valid  = valid;
    k_mutex_unlock(&dm_lock);
}

void data_manager_update_batt(uint8_t batt_pct, uint16_t batt_mv, int16_t batt_ma_x10,
                              uint8_t chg_present, bool valid)
{
    k_mutex_lock(&dm_lock, K_FOREVER);
    latest.batt_pct     = batt_pct;
    latest.batt_mv      = batt_mv;
    latest.batt_ma_x10  = batt_ma_x10;
    latest.chg_present  = chg_present;
    latest.batt_valid   = valid;
    k_mutex_unlock(&dm_lock);
}

void data_manager_update_imu(int8_t orientation, uint8_t activity_level,
                             uint16_t kick_count, uint8_t kick_rate_per_min,
                             uint8_t asleep_like, uint32_t imu_events,
                             uint16_t alerts, bool valid)
{
    k_mutex_lock(&dm_lock, K_FOREVER);
    latest.orientation       = orientation;
    latest.activity_level    = activity_level;
    latest.kick_count        = kick_count;
    latest.kick_rate_per_min = kick_rate_per_min;
    latest.asleep_like       = asleep_like;
    latest.imu_events        = imu_events;
    latest.alerts            = alerts;
    latest.imu_valid         = valid;
    k_mutex_unlock(&dm_lock);
}

void data_manager_push_vitals(uint8_t algo_mode,
                              uint16_t hr_bpm, uint8_t hr_conf,
                              uint16_t spo2_x10, uint8_t spo2_conf,
                              uint16_t rr_x10, uint8_t scd)
{
    patient_sample_t s;
    memset(&s, 0, sizeof(s));

    s.ts_ms     = k_uptime_get_32();
    s.hr_bpm    = hr_bpm;
    s.hr_conf   = hr_conf;
    s.spo2_x10  = spo2_x10;
    s.spo2_conf = spo2_conf; /* Stored separately here */
    s.rr_x10    = rr_x10;
    s.scd       = scd;

    s.valid_flags |= VF_VITALS;

    /* Merge cached values (no I2C here) */
    k_mutex_lock(&dm_lock, K_FOREVER);

    if (latest.temp_valid) {
        s.temp_c_x100 = latest.temp_c_x100;
        s.valid_flags |= VF_TEMP;
    } else {
        s.temp_c_x100 = INT16_MIN;
    }

    if (latest.batt_valid) {
        s.batt_pct    = latest.batt_pct;
        s.batt_mv     = latest.batt_mv;
        s.batt_ma_x10 = latest.batt_ma_x10;
        s.chg_present = latest.chg_present;
        s.valid_flags |= VF_BATT;
    }

    if (latest.imu_valid) {
        s.orientation       = latest.orientation;
        s.activity_level    = latest.activity_level;
        s.kick_count        = latest.kick_count;
        s.kick_rate_per_min = latest.kick_rate_per_min;
        s.asleep_like       = latest.asleep_like;
        s.imu_events        = latest.imu_events;
        s.alerts            = latest.alerts;
        s.valid_flags |= VF_IMU;
    }

    k_mutex_unlock(&dm_lock);

    /* Add into current batch */
    current_batch.algo_mode = algo_mode;

    if (current_batch.count < BATCH_SIZE) {
        current_batch.samples[current_batch.count++] = s;
    } else {
        /* should never happen; reset logic safety */
        current_batch.count = 0;
        current_batch.samples[current_batch.count++] = s;
    }

    /* Flush policy */
    if (current_batch.count >= g_target_count) {
        finalize_and_queue_batch(current_batch.count);
    }
}

int data_manager_get_batch(patient_batch_t *batch)
{
    return k_msgq_get(&batch_q, batch, K_FOREVER);
}

int data_manager_get_ble_batch(patient_batch_t *batch)
{
    return k_msgq_get(&ble_msgq, batch, K_FOREVER);
}
```

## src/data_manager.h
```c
#ifndef DATA_MANAGER_H
#define DATA_MANAGER_H

#include <zephyr/kernel.h>
#include <stdint.h>
#include <stdbool.h>

#define BATCH_SIZE   10
#define PAYLOAD_VER  1

/* -------- Valid flags (what fields are valid in this sample) -------- */
#define VF_VITALS   (1U << 0)  /* HR/SpO2/RR/Conf/SCD valid */
#define VF_TEMP     (1U << 1)
#define VF_BATT     (1U << 2)
#define VF_IMU      (1U << 3)

/* -------- Alert bits (optional, app generated) -------- */
#define AL_ROLLOVER   (1U << 0)
#define AL_FALL_LIKE  (1U << 1)
#define AL_FREEFALL   (1U << 2)
#define AL_IMPACT     (1U << 3)

/* One timestamped reading */
typedef struct __attribute__((packed)) {
    uint32_t ts_ms;        /* k_uptime_get_32() */

    /* ---- MAX32664C ---- */
    uint16_t hr_bpm;       /* hr.val1 */
    uint16_t spo2_x10;     /* spo2.val1 : 985 => 98.5% */
    uint16_t rr_x10;       /* rr.val1 (scaled if needed) */
    uint8_t  hr_conf;      /* hr.val2 0..100 */
    uint8_t  spo2_conf;    /* spo2.val2 0..100 (Separate value) */
    uint8_t  scd;          /* skin.val1 (3 = ON_SKIN) */
    uint8_t  rsv0;

    /* ---- MAX30208 ---- */
    int16_t  temp_c_x100;  /* 2514 => 25.14C, INT16_MIN if invalid */

    /* ---- MAX77658 FG ---- */
    uint8_t  batt_pct;     /* 0..100 */
    uint8_t  chg_present;  /* 0/1 (CHGIN valid) */
    uint16_t batt_mv;      /* AvgVcell in mV (0 if unknown) */
    int16_t  batt_ma_x10;  /* signed current in 0.1mA */

    /* ---- IMU summary ---- */
    int8_t   orientation;      /* imu_orientation_t (cast to int8) */
    uint8_t  activity_level;   /* 0..3 */
    uint16_t kick_count;
    uint8_t  kick_rate_per_min;
    uint8_t  asleep_like;      /* 0/1 */
    uint32_t imu_events;       /* IMU_EVT_* bitmask */
    uint16_t alerts;           /* AL_* bitmask */
    uint8_t  valid_flags;      /* VF_* */
    uint8_t  rsv1;
} patient_sample_t;

/* A batch of samples (count can be 1..10) */
typedef struct __attribute__((packed)) {
    uint8_t  ver;           /* PAYLOAD_VER */
    uint8_t  count;         /* 1..10 */
    uint8_t  algo_mode;     /* algo mode value from MAX32664C */
    uint8_t  rsv0;

    uint32_t batch_seq;     /* increments each batch */
    uint32_t uptime_ms;     /* snapshot */

    patient_sample_t samples[BATCH_SIZE];
} patient_batch_t;

void data_manager_init(void);

/* Set batching threshold: 10 for continuous, 1 for periodic */
void data_manager_set_batch_target(uint8_t target_count);

/* Update “latest” values coming from other threads */
void data_manager_update_temp(int16_t temp_c_x100, bool valid);
void data_manager_update_batt(uint8_t batt_pct, uint16_t batt_mv, int16_t batt_ma_x10,
                              uint8_t chg_present, bool valid);
void data_manager_update_imu(int8_t orientation, uint8_t activity_level,
                             uint16_t kick_count, uint8_t kick_rate_per_min,
                             uint8_t asleep_like, uint32_t imu_events,
                             uint16_t alerts, bool valid);

/* Push one vitals sample tick (MAX32664C thread calls this) */
void data_manager_push_vitals(uint8_t algo_mode,
                              uint16_t hr_bpm, uint8_t hr_conf,
                              uint16_t spo2_x10, uint8_t spo2_conf,
                              uint16_t rr_x10, uint8_t scd);

/* Consumers */
int data_manager_get_batch(patient_batch_t *batch);      /* HTTP/WiFi */
int data_manager_get_ble_batch(patient_batch_t *batch);  /* BLE */

#endif
```

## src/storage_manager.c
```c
#include <zephyr/kernel.h>
#include <zephyr/device.h>
#include <zephyr/drivers/flash.h>
#include <zephyr/fs/nvs.h>
#include <zephyr/logging/log.h>
#include <zephyr/storage/flash_map.h>
#include <zephyr/devicetree.h>
#include <errno.h>
#include <string.h>

#include "storage_manager.h"

LOG_MODULE_REGISTER(storage_mgr, LOG_LEVEL_INF);

static struct nvs_fs fs;

#define STORAGE_NODE DT_NODE_BY_FIXED_PARTITION_LABEL(storage)

/* * PARTITION: 32KB (0x8000)
 * SAFE CAPACITY: ~15KB of raw data (due to NVS wear-leveling overhead)
 * 15KB / ~260 bytes per batch = ~57 batches.
 * Rounding down to 50 for safety.
 */
#define MAX_STORED_BATCHES 50  /* Approx 20 seconds of buffer */

enum {
    STORAGE_PART_BYTES = DT_REG_SIZE(STORAGE_NODE)
};

#define KEY_WRITE_IDX  1
#define KEY_READ_IDX   2
#define KEY_DATA_BASE  100

static uint16_t write_idx;
static uint16_t read_idx;
static bool storage_ready;

static struct k_mutex st_lock;

/* Helper to wrap index */
static inline uint16_t next_idx(uint16_t idx)
{
    return (uint16_t)((idx + 1U) % (uint16_t)MAX_STORED_BATCHES);
}

uint16_t storage_pending_count(void)
{
    uint16_t pending;

    k_mutex_lock(&st_lock, K_FOREVER);
    if (write_idx >= read_idx) {
        pending = (uint16_t)(write_idx - read_idx);
    } else {
        pending = (uint16_t)((uint16_t)MAX_STORED_BATCHES - read_idx + write_idx);
    }
    k_mutex_unlock(&st_lock);

    return pending;
}

bool storage_has_data(void)
{
    bool has;

    k_mutex_lock(&st_lock, K_FOREVER);
    has = (read_idx != write_idx);
    k_mutex_unlock(&st_lock);

    return has;
}

int storage_init(void)
{
    int rc;
    struct flash_pages_info info;

    k_mutex_init(&st_lock);
    storage_ready = false;
    write_idx = 0;
    read_idx = 0;

    fs.flash_device = DEVICE_DT_GET(DT_CHOSEN(zephyr_flash_controller));
    if (!device_is_ready(fs.flash_device)) {
        LOG_ERR("Flash device not ready");
        return -ENODEV;
    }

    fs.offset = DT_REG_ADDR(STORAGE_NODE);

    rc = flash_get_page_info_by_offs(fs.flash_device, fs.offset, &info);
    if (rc) {
        LOG_ERR("Unable to get page info: %d", rc);
        return rc;
    }

    fs.sector_size = info.size;
    fs.sector_count = STORAGE_PART_BYTES / info.size;

    if (fs.sector_count < 2) {
        LOG_ERR("Storage partition too small: bytes=%d sector=%d count=%d",
                STORAGE_PART_BYTES, (int)fs.sector_size, (int)fs.sector_count);
        return -EINVAL;
    }

    rc = nvs_mount(&fs);
    if (rc) {
        LOG_ERR("NVS mount failed: %d (check partition label/size)", rc);
        return rc;
    }

    /* Restore indices */
    if (nvs_read(&fs, KEY_WRITE_IDX, &write_idx, sizeof(write_idx)) <= 0) {
        write_idx = 0;
    }
    if (nvs_read(&fs, KEY_READ_IDX, &read_idx, sizeof(read_idx)) <= 0) {
        read_idx = 0;
    }

    /* Clamp indices to current ring size */
    write_idx %= (uint16_t)MAX_STORED_BATCHES;
    read_idx  %= (uint16_t)MAX_STORED_BATCHES;

    storage_ready = true;

    LOG_INF("Storage: partition=%dB page=%dB sectors=%d, batch_size=%uB, ring=%d",
            STORAGE_PART_BYTES, (int)fs.sector_size, (int)fs.sector_count,
            (unsigned)sizeof(patient_batch_t), (int)MAX_STORED_BATCHES);

    LOG_INF("Storage: pending=%u (read=%u write=%u)", storage_pending_count(), read_idx, write_idx);

    return 0;
}

int storage_save_batch(const patient_batch_t *batch)
{
    int rc;
    uint16_t saved_at;
    uint16_t next_write;

    if (!storage_ready) return -EACCES;

    k_mutex_lock(&st_lock, K_FOREVER);

    next_write = next_idx(write_idx);

    /* Overflow: drop oldest */
    if (next_write == read_idx) {
        read_idx = next_idx(read_idx);
        (void)nvs_write(&fs, KEY_READ_IDX, &read_idx, sizeof(read_idx));
    }

    saved_at = write_idx;

    rc = nvs_write(&fs, KEY_DATA_BASE + saved_at, batch, sizeof(patient_batch_t));
    if (rc < 0) {
        k_mutex_unlock(&st_lock);
        LOG_ERR("NVS write failed: %d", rc);
        return rc;
    }

    write_idx = next_write;
    (void)nvs_write(&fs, KEY_WRITE_IDX, &write_idx, sizeof(write_idx));

    k_mutex_unlock(&st_lock);
    return 0;
}

int storage_peek_next_batch(patient_batch_t *batch)
{
    int rc;

    if (!storage_ready) return -EACCES;

    /* Don’t hold lock longer than needed. */
    k_mutex_lock(&st_lock, K_FOREVER);

    if (read_idx == write_idx) {
        k_mutex_unlock(&st_lock);
        return -ENODATA;
    }

    rc = nvs_read(&fs, KEY_DATA_BASE + read_idx, batch, sizeof(patient_batch_t));
    if (rc <= 0) {
        /* Corrupt entry: skip it so we don’t get stuck forever */
        LOG_WRN("NVS read failed at idx=%u, skipping entry", read_idx);
        read_idx = next_idx(read_idx);
        (void)nvs_write(&fs, KEY_READ_IDX, &read_idx, sizeof(read_idx));
        k_mutex_unlock(&st_lock);
        return -EIO;
    }

    k_mutex_unlock(&st_lock);
    return 0;
}

int storage_drop_next_batch(void)
{
    if (!storage_ready) return -EACCES;

    k_mutex_lock(&st_lock, K_FOREVER);

    if (read_idx == write_idx) {
        k_mutex_unlock(&st_lock);
        return -ENODATA;
    }

    read_idx = next_idx(read_idx);
    (void)nvs_write(&fs, KEY_READ_IDX, &read_idx, sizeof(read_idx));

    k_mutex_unlock(&st_lock);
    return 0;
}
```

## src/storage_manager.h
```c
#ifndef STORAGE_MANAGER_H
#define STORAGE_MANAGER_H

#include <zephyr/kernel.h>
#include <stdint.h>
#include <stdbool.h>

#include "data_manager.h"

/* Initialize the NVS file system */
int storage_init(void);

/* Save a batch to flash (Circular Buffer) */
int storage_save_batch(const patient_batch_t *batch);

/* Read the oldest batch WITHOUT deleting it (Safe Peek) */
int storage_peek_next_batch(patient_batch_t *batch);

/* Delete the oldest batch (Advance Read Pointer) */
int storage_drop_next_batch(void);

/* Check if there is pending data */
bool storage_has_data(void);

/* Get number of batches currently stored */
uint16_t storage_pending_count(void);

#endif /* STORAGE_MANAGER_H */
```
